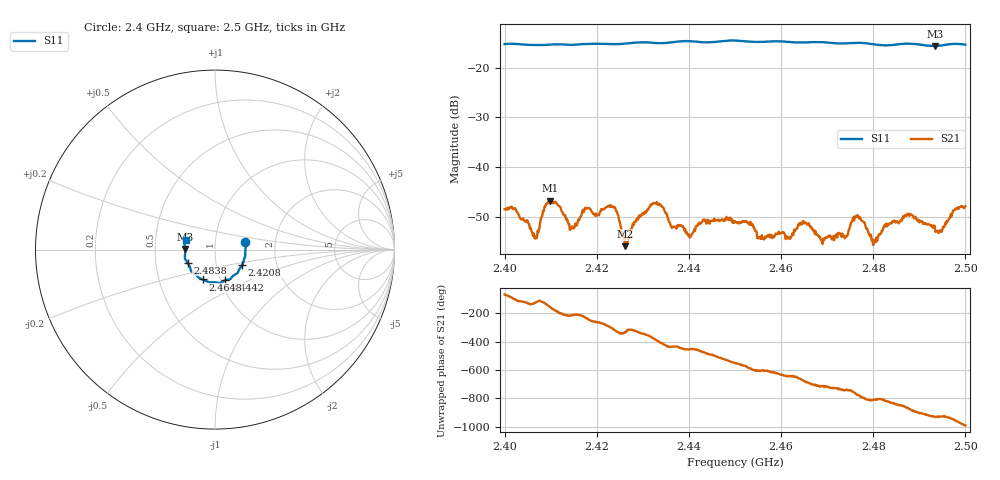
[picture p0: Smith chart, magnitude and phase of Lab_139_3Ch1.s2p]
# Hz S RI R 50
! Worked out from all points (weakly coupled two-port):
!   601 points, 2.4 GHz to 2.5 GHz, reference 50 ohm
!   highest |S21| = -46.80 dB at 2.4098 GHz (marker M1); lowest = -56.0 dB at 2.4262 GHz (marker M2)
!   lowest |S11| = -15.6 dB at 2.4935 GHz (marker M3), VSWR 1.40, Z = 35.8 + j0.213 ohm
!   |S11| at or under -10 dB: start of sweep to end of sweep
!   S12 and S22 are empty: the file has one direction only
!   S11 on the Smith chart (normalised r, x): 2.4 GHz: 1.40, +0.12; 2.4208 GHz: 1.33, -0.24; 2.4442 GHz: 1.05, -0.37; 2.4648 GHz: 0.83, -0.28; 2.4838 GHz: 0.73, -0.11; 2.5 GHz: 0.72, +0.08
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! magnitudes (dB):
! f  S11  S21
! 2.4 GHz  -15.2  -48.5
! 2.4065 GHz  -15.4  -54.3
! 2.4098 GHz  -15.3  -46.8
! 2.4147 GHz  -15.4  -52.0
! 2.4167 GHz  -15.3  -49.8
! 2.4208 GHz  -15.2  -49.0
! 2.4238 GHz  -15.2  -48.1
! 2.4262 GHz  -15.1  -56.0
! 2.4333 GHz  -15.0  -47.7
! 2.4402 GHz  -14.6  -54.3
! 2.4442 GHz  -14.9  -50.7
! 2.45 GHz  -14.5  -50.9
! 2.4558 GHz  -14.8  -53.8
! 2.4648 GHz  -14.9  -50.9
! 2.4667 GHz  -14.8  -52.5
! 2.474 GHz  -15.1  -54.1
! 2.4767 GHz  -15.0  -49.7
! 2.4803 GHz  -15.3  -54.7
! 2.4833 GHz  -15.5  -51.7
! 2.4838 GHz  -15.4  -51.3
! 2.4935 GHz  -15.6  -53.1
! 2.5 GHz  -15.3  -47.9
